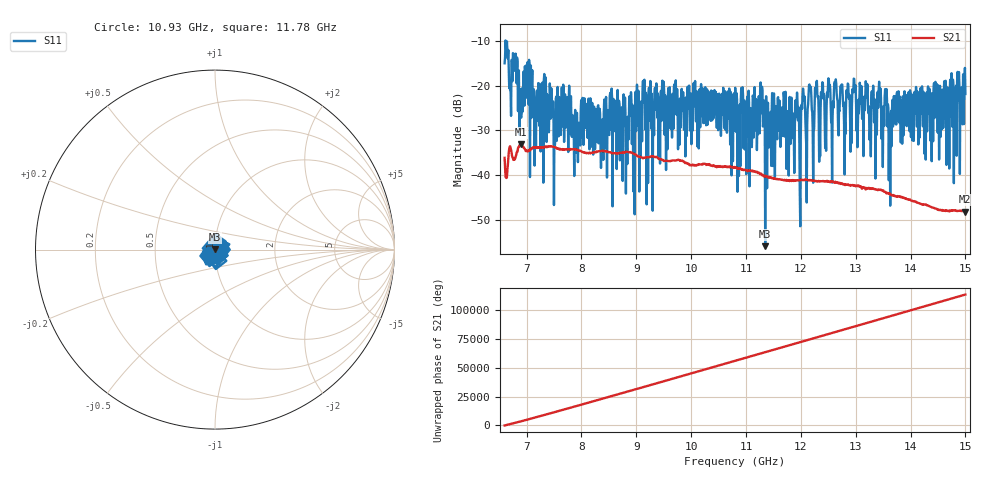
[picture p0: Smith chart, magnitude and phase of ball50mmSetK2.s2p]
!Keysight Technologies,N5235B,MY61252044,A.15.00.15
!Date: Friday, January 20, 2023 23:46:45
!Correction: S11(Off)
!S21(Off)
!S12(Off)
!S22(Off)
!S2P File: Measurements: S11, S21, S12, S22:
# Hz S  RI  R 50
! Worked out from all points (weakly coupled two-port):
!   1000 points, 6.6 GHz to 15 GHz, reference 50 ohm
!   highest |S21| = -33.17 dB at 6.903 GHz (marker M1); lowest = -48.2 dB at 14.99 GHz (marker M2)
!   lowest |S11| = -55.9 dB at 11.35 GHz (marker M3), VSWR 1.00, Z = 49.9 + j0.15 ohm
!   |S11| at or under -10 dB: start of sweep to 6.61663 GHz; 6.617 GHz to end of sweep
!   S12 and S22 are empty: the file has one direction only
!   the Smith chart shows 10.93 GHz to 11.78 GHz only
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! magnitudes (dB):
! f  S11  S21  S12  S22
! 6.6 GHz  -15.0  -36.2  -  -
! 6.701 GHz  -21.1  -33.6  -  -
! 6.793 GHz  -16.6  -36.3  -  -
! 6.903 GHz  -27.2  -33.2  -  -
! 7.012 GHz  -22.1  -34.6  -  -
! 7.155 GHz  -25.8  -33.8  -  -
! 8.004 GHz  -28.0  -34.7  -  -
! 8.357 GHz  -38.4  -34.6  -  -
! 9.4 GHz  -22.9  -36.2  -  -
! 10.8 GHz  -20.5  -38.4  -  -
! 11.3 GHz  -21.0  -40.0  -  -
! 11.35 GHz  -55.9  -40.1  -  -
! 11.93 GHz  -21.6  -41.1  -  -
! 11.98 GHz  -44.0  -41.2  -  -
! 12.17 GHz  -20.4  -41.1  -  -
! 12.2 GHz  -25.3  -41.1  -  -
! 12.97 GHz  -18.5  -42.3  -  -
! 13.27 GHz  -28.5  -43.0  -  -
! 13.55 GHz  -24.1  -44.0  -  -
! 13.6 GHz  -41.2  -44.1  -  -
! 14.99 GHz  -16.0  -48.2  -  -
! 15 GHz  -21.9  -48.1  -  -
